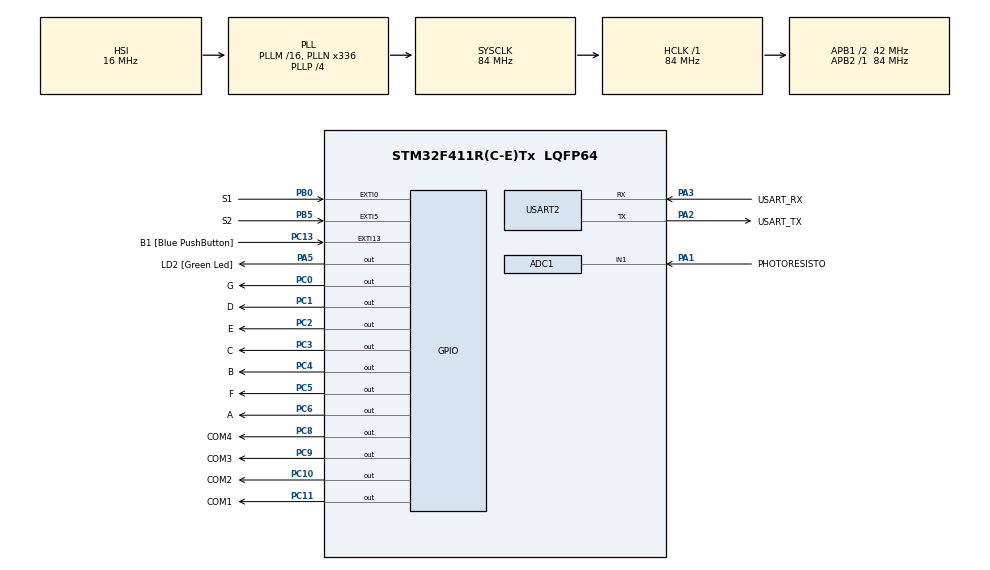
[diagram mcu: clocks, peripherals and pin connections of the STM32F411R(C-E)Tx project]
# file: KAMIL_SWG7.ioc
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ADC1.Channel-1\#ChannelRegularConversion=ADC_CHANNEL_1
ADC1.ContinuousConvMode=DISABLE
ADC1.NbrOfConversionFlag=1
ADC1.Rank-1\#ChannelRegularConversion=1
ADC1.SamplingTime-1\#ChannelRegularConversion=ADC_SAMPLETIME_480CYCLES
ADC1.master=1
Mcu.Family=STM32F4
Mcu.Name=STM32F411R(C-E)Tx
Mcu.Package=LQFP64
NVIC.ADC_IRQn=true\:0\:0\:false\:false\:true\:true\:true\:true
NVIC.EXTI0_IRQn=true\:0\:0\:false\:false\:true\:true\:true\:true
NVIC.EXTI9_5_IRQn=true\:0\:0\:false\:false\:true\:true\:true\:true
NVIC.PriorityGroup=NVIC_PRIORITYGROUP_0
NVIC.TIM1_TRG_COM_TIM11_IRQn=true\:0\:0\:false\:false\:true\:true\:true\:true
NVIC.TIM1_UP_TIM10_IRQn=true\:0\:0\:false\:false\:true\:true\:true\:true
PA1.GPIO_Label=PHOTORESISTO
PA1.Signal=ADCx_IN1
PA13.GPIO_Label=TMS
PA13.Mode=Serial_Wire
PA13.Signal=SYS_JTMS-SWDIO
PA14.GPIO_Label=TCK
PA14.Mode=Serial_Wire
PA14.Signal=SYS_JTCK-SWCLK
PA2.GPIO_Label=USART_TX
PA2.Mode=Asynchronous
PA2.Signal=USART2_TX
PA3.GPIO_Label=USART_RX
PA3.Mode=Asynchronous
PA3.Signal=USART2_RX
PA5.GPIO_Label=LD2 [Green Led]
PA5.Signal=GPIO_Output
PB0.GPIO_Label=S1
PB0.GPIO_ModeDefaultEXTI=GPIO_MODE_IT_FALLING
PB0.GPIO_PuPd=GPIO_PULLUP
PB0.Signal=GPXTI0
PB3.GPIO_Label=SWO
PB3.Signal=SYS_JTDO-SWO
PB5.GPIO_Label=S2
PB5.GPIO_ModeDefaultEXTI=GPIO_MODE_IT_FALLING
PB5.GPIO_PuPd=GPIO_PULLUP
PB5.Signal=GPXTI5
PC0.GPIO_Label=G
PC0.Signal=GPIO_Output
PC1.GPIO_Label=D
PC1.Signal=GPIO_Output
PC10.GPIO_Label=COM2
PC10.Signal=GPIO_Output
PC11.GPIO_Label=COM1
PC11.Signal=GPIO_Output
PC13-ANTI_TAMP.GPIO_Label=B1 [Blue PushButton]
PC13-ANTI_TAMP.GPIO_ModeDefaultEXTI=GPIO_MODE_IT_FALLING
PC13-ANTI_TAMP.Signal=GPXTI13
PC14-OSC32_IN.Mode=LSE-External-Oscillator
PC14-OSC32_IN.Signal=RCC_OSC32_IN
PC15-OSC32_OUT.Mode=LSE-External-Oscillator
PC15-OSC32_OUT.Signal=RCC_OSC32_OUT
PC2.GPIO_Label=E
PC2.Signal=GPIO_Output
PC3.GPIO_Label=C
PC3.Signal=GPIO_Output
PC4.GPIO_Label=B
PC4.Signal=GPIO_Output
PC5.GPIO_Label=F
PC5.Signal=GPIO_Output
PC6.GPIO_Label=A
PC6.Signal=GPIO_Output
PC8.GPIO_Label=COM4
PC8.Signal=GPIO_Output
PC9.GPIO_Label=COM3
PC9.Signal=GPIO_Output
PH0\ -\ OSC_IN.Mode=HSE-External-Clock-Source
PH0\ -\ OSC_IN.Signal=RCC_OSC_IN
PH1\ -\ OSC_OUT.Mode=HSE-External-Clock-Source
PH1\ -\ OSC_OUT.Signal=RCC_OSC_OUT
ProjectManager.HeapSize=0x200
ProjectManager.StackSize=0x400
ProjectManager.TargetToolchain=STM32CubeIDE
RCC.48MHZClocksFreq_Value=84000000
RCC.AHBFreq_Value=84000000
RCC.APB1CLKDivider=RCC_HCLK_DIV2
RCC.APB1Freq_Value=42000000
RCC.APB1TimFreq_Value=84000000
RCC.APB2Freq_Value=84000000
RCC.APB2TimFreq_Value=84000000
RCC.CortexFreq_Value=84000000
RCC.FLatency-AdvancedSettings=FLASH_LATENCY_2
RCC.HCLKFreq_Value=84000000
RCC.HSE_VALUE=8000000
RCC.HSI_VALUE=16000000
RCC.PLLN=336
RCC.PLLP=RCC_PLLP_DIV4
RCC.SYSCLKFreq_VALUE=84000000
RCC.SYSCLKSource=RCC_SYSCLKSOURCE_PLLCLK
RCC.VCOOutputFreq_Value=336000000
SH.ADCx_IN1.0=ADC1_IN1,IN1
TIM10.Period=1000-1
TIM10.Prescaler=8400-1
TIM11.Period=999
TIM11.Prescaler=500
USART2.VirtualMode=VM_ASYNC
VP_TIM10_VS_ClockSourceINT.Mode=Enable_Timer
VP_TIM11_VS_ClockSourceINT.Mode=Enable_Timer
board=NUCLEO-F411RE

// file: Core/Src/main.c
/* USER CODE BEGIN Header */
/**
  ******************************************************************************
  * @file           : main.c
  * @brief          : Main program body
  ******************************************************************************
  * @attention
  *
  * Copyright (c) 2023 STMicroelectronics.
  * All rights reserved.
  *
  * This software is licensed under terms that can be found in the LICENSE file
  * in the root directory of this software component.
  * If no LICENSE file comes with this software, it is provided AS-IS.
  *
  ******************************************************************************
  */
/* USER CODE END Header */
#include "main.h"

ADC_HandleTypeDef hadc1;

TIM_HandleTypeDef htim10;
TIM_HandleTypeDef htim11;

UART_HandleTypeDef huart2;

/* USER CODE BEGIN PV */
volatile uint8_t NrDisp;
volatile uint32_t Number = 0;
volatile uint8_t unit_number;
volatile uint8_t decimal_number;
volatile uint8_t hundreds_number;
volatile uint8_t thousandths_number;

/* USER CODE END PV */

void SystemClock_Config(void);
static void MX_GPIO_Init(void);
static void MX_USART2_UART_Init(void);
static void MX_TIM11_Init(void);
static void MX_ADC1_Init(void);
static void MX_TIM10_Init(void);
/* USER CODE BEGIN PFP */
void HAL_ADC_ConvCpltCallback(ADC_HandleTypeDef* hadc);
void HAL_GPIO_EXTI_Callback(uint16_t GPIO_Pin);
void HAL_TIM_PeriodElapsedCallback(TIM_HandleTypeDef *htim);
void count_number();
void SetDisp(uint8_t number);
void DispSeg7(uint8_t mask);
void SetSeg7(uint8_t number);

/* USER CODE END PFP */

/* USER CODE BEGIN 0 */

// funkcja odpowiedzilana za obsługę przerwań związanych z przetwornikiem ADC
void HAL_ADC_ConvCpltCallback(ADC_HandleTypeDef* hadc){
	if(hadc->Instance == ADC1){
		Number = HAL_ADC_GetValue(hadc);
		count_number();
	}

}

// funkcja odpowiedzilana za obsługę przerwań związanych z timerem TIM11 oraz TIM10
void HAL_TIM_PeriodElapsedCallback(TIM_HandleTypeDef *htim){
	if(htim->Instance == TIM11){
		// Switch umożliwający cykliczną zamianę jednego z 4 wyświetlaczy 7-seg
		switch(NrDisp){
		case 0:
			SetDisp(0);
			SetSeg7(thousandths_number);
			NrDisp = 1;
			break;
		case 1:
			SetDisp(1);
			SetSeg7(hundreds_number);
			NrDisp = 2;
			break;
		case 2:
			SetDisp(2);
			SetSeg7(decimal_number);
			NrDisp = 3;
			break;
		case 3:
			SetDisp(3);
			SetSeg7(unit_number);
			NrDisp = 0;
			break;
		}
	}else if(htim->Instance == TIM10){
		HAL_ADC_Start_IT(&hadc1);

	}

}

// Funkcja umożliwiająca zlicznie, oraz dekodowanie wartości Number
void count_number(){
	if(Number > 9999){
		Number = 0;
	}
	thousandths_number = Number/1000;
	hundreds_number = (Number%1000)/100;
	decimal_number = (Number%1000%100)/10;
	unit_number = (Number%1000%100%10);

}

// Funkcja umożliwiająca ustawienie odpowiedniego COM-a do wyświetlacza
// w celu wyboru jednego z 4 wyświetlaczy 7-seg
void SetDisp(uint8_t number){

	HAL_GPIO_WritePin(COM1_GPIO_Port, COM1_Pin, GPIO_PIN_SET);
	HAL_GPIO_WritePin(COM2_GPIO_Port, COM2_Pin, GPIO_PIN_SET);
	HAL_GPIO_WritePin(COM3_GPIO_Port, COM3_Pin, GPIO_PIN_SET);
	HAL_GPIO_WritePin(COM4_GPIO_Port, COM4_Pin, GPIO_PIN_SET);
	switch(number){
		case 0:
			HAL_GPIO_WritePin(COM1_GPIO_Port, COM1_Pin, GPIO_PIN_RESET);
			break;
		case 1:
			HAL_GPIO_WritePin(COM2_GPIO_Port, COM2_Pin, GPIO_PIN_RESET);
			break;
		case 2:
			HAL_GPIO_WritePin(COM3_GPIO_Port, COM3_Pin, GPIO_PIN_RESET);
			break;
		case 3:
			HAL_GPIO_WritePin(COM4_GPIO_Port, COM4_Pin, GPIO_PIN_RESET);
			break;

	}
}

// Funkcja ustawiająca odpowiedni stan na wyjściu zgodnie z maską podaną z funkcji SetSeg7
void DispSeg7(uint8_t mask){
	HAL_GPIO_WritePin(A_GPIO_Port, A_Pin, mask & 0x01);
	HAL_GPIO_WritePin(B_GPIO_Port, B_Pin, mask & 0x02);
	HAL_GPIO_WritePin(C_GPIO_Port, C_Pin, mask & 0x04);
	HAL_GPIO_WritePin(D_GPIO_Port, D_Pin, mask & 0x08);
	HAL_GPIO_WritePin(E_GPIO_Port, E_Pin, mask & 0x10);
	HAL_GPIO_WritePin(F_GPIO_Port, F_Pin, mask & 0x20);
	HAL_GPIO_WritePin(G_GPIO_Port, G_Pin, mask & 0x40);

}

// Funkcja deklarująca wyświedlanie odpowiednich segmentów dla poszczególnych liczb
void SetSeg7(uint8_t number){
	switch(number){
	case 0:
		DispSeg7(0b0111111);
		break;
	case 1:
		DispSeg7(0b0000110);
		break;
	case 2:
		DispSeg7(0b1011011);
		break;
	case 3:
		DispSeg7(0b1001111);
		break;
	case 4:
		DispSeg7(0b1100110);
		break;
	case 5:
		DispSeg7(0b1101101);
		break;
	case 6:
		DispSeg7(0b1111101);
		break;
	case 7:
		DispSeg7(0b0000111);
		break;
	case 8:
		DispSeg7(0b1111111);
		break;
	case 9:
		DispSeg7(0b1101111);
		break;
	default:
		DispSeg7(0b1111001);
		break;
	}
}

/* USER CODE END 0 */

int main(void)
{

  /* MCU Configuration--------------------------------------------------------*/

  /* Reset of all peripherals, Initializes the Flash interface and the Systick. */
  HAL_Init();

  /* Configure the system clock */
  SystemClock_Config();

  /* Initialize all configured peripherals */
  MX_GPIO_Init();
  MX_USART2_UART_Init();
  MX_TIM11_Init();
  MX_ADC1_Init();
  MX_TIM10_Init();
  /* USER CODE BEGIN 2 */
  HAL_TIM_Base_Start_IT(&htim11);
  HAL_TIM_Base_Start_IT(&htim10);

  /* USER CODE END 2 */

  /* Infinite loop */
  while (1)
  {

  }
}

void SystemClock_Config(void)
{
  RCC_OscInitTypeDef RCC_OscInitStruct = {0};
  RCC_ClkInitTypeDef RCC_ClkInitStruct = {0};

  /** Configure the main internal regulator output voltage
  */
  __HAL_RCC_PWR_CLK_ENABLE();
  __HAL_PWR_VOLTAGESCALING_CONFIG(PWR_REGULATOR_VOLTAGE_SCALE1);

  /** Initializes the RCC Oscillators according to the specified parameters
  * in the RCC_OscInitTypeDef structure.
  */
  RCC_OscInitStruct.OscillatorType = RCC_OSCILLATORTYPE_HSI;
  RCC_OscInitStruct.HSIState = RCC_HSI_ON;
  RCC_OscInitStruct.HSICalibrationValue = RCC_HSICALIBRATION_DEFAULT;
  RCC_OscInitStruct.PLL.PLLState = RCC_PLL_ON;
  RCC_OscInitStruct.PLL.PLLSource = RCC_PLLSOURCE_HSI;
  RCC_OscInitStruct.PLL.PLLM = 16;
  RCC_OscInitStruct.PLL.PLLN = 336;
  RCC_OscInitStruct.PLL.PLLP = RCC_PLLP_DIV4;
  RCC_OscInitStruct.PLL.PLLQ = 4;
  if (HAL_RCC_OscConfig(&RCC_OscInitStruct) != HAL_OK)
  {
    Error_Handler();
  }

  /** Initializes the CPU, AHB and APB buses clocks
  */
  RCC_ClkInitStruct.ClockType = RCC_CLOCKTYPE_HCLK|RCC_CLOCKTYPE_SYSCLK
                              |RCC_CLOCKTYPE_PCLK1|RCC_CLOCKTYPE_PCLK2;
  RCC_ClkInitStruct.SYSCLKSource = RCC_SYSCLKSOURCE_PLLCLK;
  RCC_ClkInitStruct.AHBCLKDivider = RCC_SYSCLK_DIV1;
  RCC_ClkInitStruct.APB1CLKDivider = RCC_HCLK_DIV2;
  RCC_ClkInitStruct.APB2CLKDivider = RCC_HCLK_DIV1;

  if (HAL_RCC_ClockConfig(&RCC_ClkInitStruct, FLASH_LATENCY_2) != HAL_OK)
  {
    Error_Handler();
  }
}

static void MX_ADC1_Init(void)
{

  ADC_ChannelConfTypeDef sConfig = {0};

  /** Configure the global features of the ADC (Clock, Resolution, Data Alignment and number of conversion)
  */
  hadc1.Instance = ADC1;
  hadc1.Init.ClockPrescaler = ADC_CLOCK_SYNC_PCLK_DIV4;
  hadc1.Init.Resolution = ADC_RESOLUTION_12B;
  hadc1.Init.ScanConvMode = DISABLE;
  hadc1.Init.ContinuousConvMode = DISABLE;
  hadc1.Init.DiscontinuousConvMode = DISABLE;
  hadc1.Init.ExternalTrigConvEdge = ADC_EXTERNALTRIGCONVEDGE_NONE;
  hadc1.Init.ExternalTrigConv = ADC_SOFTWARE_START;
  hadc1.Init.DataAlign = ADC_DATAALIGN_RIGHT;
  hadc1.Init.NbrOfConversion = 1;
  hadc1.Init.DMAContinuousRequests = DISABLE;
  hadc1.Init.EOCSelection = ADC_EOC_SINGLE_CONV;
  if (HAL_ADC_Init(&hadc1) != HAL_OK)
  {
    Error_Handler();
  }

  /** Configure for the selected ADC regular channel its corresponding rank in the sequencer and its sample time.
  */
  sConfig.Channel = ADC_CHANNEL_1;
  sConfig.Rank = 1;
  sConfig.SamplingTime = ADC_SAMPLETIME_480CYCLES;
  if (HAL_ADC_ConfigChannel(&hadc1, &sConfig) != HAL_OK)
  {
    Error_Handler();
  }

}

static void MX_TIM10_Init(void)
{

  htim10.Instance = TIM10;
  htim10.Init.Prescaler = 8400-1;
  htim10.Init.CounterMode = TIM_COUNTERMODE_UP;
  htim10.Init.Period = 1000-1;
  htim10.Init.ClockDivision = TIM_CLOCKDIVISION_DIV1;
  htim10.Init.AutoReloadPreload = TIM_AUTORELOAD_PRELOAD_DISABLE;
  if (HAL_TIM_Base_Init(&htim10) != HAL_OK)
  {
    Error_Handler();
  }

}

static void MX_TIM11_Init(void)
{

  htim11.Instance = TIM11;
  htim11.Init.Prescaler = 500;
  htim11.Init.CounterMode = TIM_COUNTERMODE_UP;
  htim11.Init.Period = 999;
  htim11.Init.ClockDivision = TIM_CLOCKDIVISION_DIV1;
  htim11.Init.AutoReloadPreload = TIM_AUTORELOAD_PRELOAD_DISABLE;
  if (HAL_TIM_Base_Init(&htim11) != HAL_OK)
  {
    Error_Handler();
  }

}

static void MX_USART2_UART_Init(void)
{

  huart2.Instance = USART2;
  huart2.Init.BaudRate = 115200;
  huart2.Init.WordLength = UART_WORDLENGTH_8B;
  huart2.Init.StopBits = UART_STOPBITS_1;
  huart2.Init.Parity = UART_PARITY_NONE;
  huart2.Init.Mode = UART_MODE_TX_RX;
  huart2.Init.HwFlowCtl = UART_HWCONTROL_NONE;
  huart2.Init.OverSampling = UART_OVERSAMPLING_16;
  if (HAL_UART_Init(&huart2) != HAL_OK)
  {
    Error_Handler();
  }

}

static void MX_GPIO_Init(void)
{
  GPIO_InitTypeDef GPIO_InitStruct = {0};

  /* GPIO Ports Clock Enable */
  __HAL_RCC_GPIOC_CLK_ENABLE();
  __HAL_RCC_GPIOH_CLK_ENABLE();
  __HAL_RCC_GPIOA_CLK_ENABLE();
  __HAL_RCC_GPIOB_CLK_ENABLE();

  /*Configure GPIO pin Output Level */
  HAL_GPIO_WritePin(GPIOC, G_Pin|D_Pin|E_Pin|C_Pin
                          |B_Pin|F_Pin|A_Pin|COM4_Pin
                          |COM3_Pin|COM2_Pin|COM1_Pin, GPIO_PIN_RESET);

  /*Configure GPIO pin Output Level */
  HAL_GPIO_WritePin(LD2_GPIO_Port, LD2_Pin, GPIO_PIN_RESET);

  /*Configure GPIO pin : B1_Pin */
  GPIO_InitStruct.Pin = B1_Pin;
  GPIO_InitStruct.Mode = GPIO_MODE_IT_FALLING;
  GPIO_InitStruct.Pull = GPIO_NOPULL;
  HAL_GPIO_Init(B1_GPIO_Port, &GPIO_InitStruct);

  /*Configure GPIO pins : G_Pin D_Pin E_Pin C_Pin
                           B_Pin F_Pin A_Pin COM4_Pin
                           COM3_Pin COM2_Pin COM1_Pin */
  GPIO_InitStruct.Pin = G_Pin|D_Pin|E_Pin|C_Pin
                          |B_Pin|F_Pin|A_Pin|COM4_Pin
                          |COM3_Pin|COM2_Pin|COM1_Pin;
  GPIO_InitStruct.Mode = GPIO_MODE_OUTPUT_PP;
  GPIO_InitStruct.Pull = GPIO_NOPULL;
  GPIO_InitStruct.Speed = GPIO_SPEED_FREQ_LOW;
  HAL_GPIO_Init(GPIOC, &GPIO_InitStruct);

  /*Configure GPIO pin : LD2_Pin */
  GPIO_InitStruct.Pin = LD2_Pin;
  GPIO_InitStruct.Mode = GPIO_MODE_OUTPUT_PP;
  GPIO_InitStruct.Pull = GPIO_NOPULL;
  GPIO_InitStruct.Speed = GPIO_SPEED_FREQ_LOW;
  HAL_GPIO_Init(LD2_GPIO_Port, &GPIO_InitStruct);

  /*Configure GPIO pins : S1_Pin S2_Pin */
  GPIO_InitStruct.Pin = S1_Pin|S2_Pin;
  GPIO_InitStruct.Mode = GPIO_MODE_IT_FALLING;
  GPIO_InitStruct.Pull = GPIO_PULLUP;
  HAL_GPIO_Init(GPIOB, &GPIO_InitStruct);

  /* EXTI interrupt init*/
  HAL_NVIC_SetPriority(EXTI0_IRQn, 0, 0);
  HAL_NVIC_EnableIRQ(EXTI0_IRQn);

  HAL_NVIC_SetPriority(EXTI9_5_IRQn, 0, 0);
  HAL_NVIC_EnableIRQ(EXTI9_5_IRQn);

}

void Error_Handler(void)
{
  __disable_irq();
  while (1)
  {
  }
}
